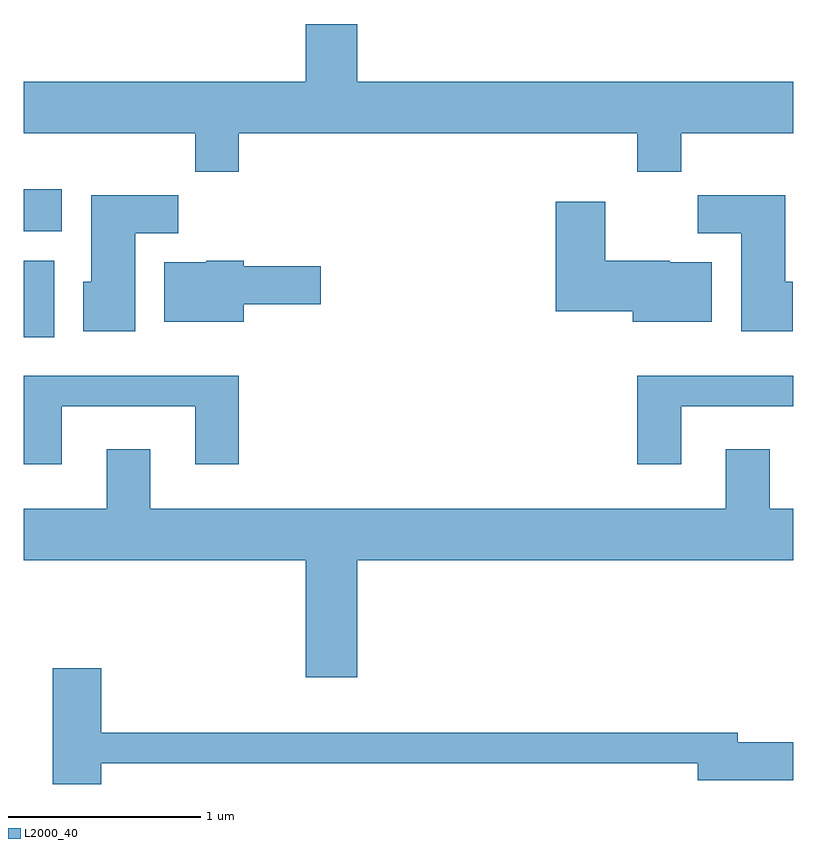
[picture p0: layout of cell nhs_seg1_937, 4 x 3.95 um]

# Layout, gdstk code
import gdstk
lib = gdstk.Library(unit=1e-6, precision=1e-09)
def R(c, l, rs):  # rectangles x0, y0, x1, y1
    for r in rs: c.add(gdstk.rectangle(r[:2], r[2:], *l))
def P(c, l, *ps):  # polygons
    for p in ps: c.add(gdstk.Polygon(p, *l))
L2000_40 = (2000, 40)

nhs_seg1_937 = lib.new_cell('nhs_seg1_937')
R(nhs_seg1_937, L2000_40, [(213.611,934.036,213.769,934.434), (213.611,934.586,213.809,934.804)])
P(nhs_seg1_937, L2000_40, [(214.729,935.096),(216.801,935.096),(216.801,934.896),(217.029,934.896),(217.029,935.096),(217.611,935.096),(217.611,935.364),(215.344,935.364),(215.344,935.664),(215.076,935.664),(215.076,935.364),(213.611,935.364),(213.611,935.096),(214.501,935.096),(214.501,934.896),(214.729,934.896)],
  [(214.189,934.576),(214.414,934.576),(214.414,934.774),(213.961,934.774),(213.961,934.324),(213.921,934.324),(213.921,934.066),(214.189,934.066)],
  [(217.609,934.324),(217.569,934.324),(217.569,934.774),(217.116,934.774),(217.116,934.576),(217.341,934.576),(217.341,934.066),(217.609,934.066)],
  [(217.189,934.424),(216.97,934.424),(216.97,934.434),(216.634,934.434),(216.634,934.739),(216.376,934.739),(216.376,934.171),(216.776,934.171),(216.776,934.116),(217.189,934.116)],
  [(214.754,934.206),(215.154,934.206),(215.154,934.404),(214.754,934.404),(214.754,934.434),(214.56,934.434),(214.56,934.424),(214.341,934.424),(214.341,934.116),(214.754,934.116)],
  [(217.029,933.676),(217.611,933.676),(217.611,933.834),(216.801,933.834),(216.801,933.376),(217.029,933.376)],
  [(213.809,933.676),(214.501,933.676),(214.501,933.376),(214.729,933.376),(214.729,933.834),(213.611,933.834),(213.611,933.376),(213.809,933.376)],
  [(215.344,932.876),(217.611,932.876),(217.611,933.144),(217.489,933.144),(217.489,933.454),(217.261,933.454),(217.261,933.144),(214.269,933.144),(214.269,933.454),(214.041,933.454),(214.041,933.144),(213.611,933.144),(213.611,932.876),(215.076,932.876),(215.076,932.266),(215.344,932.266)],
  [(214.014,931.821),(217.116,931.821),(217.116,931.731),(217.611,931.731),(217.611,931.929),(217.324,931.929),(217.324,931.979),(214.014,931.979),(214.014,932.314),(213.761,932.314),(213.761,931.712),(214.014,931.712)])

lib.write_gds('nhs_seg1_937.gds')
